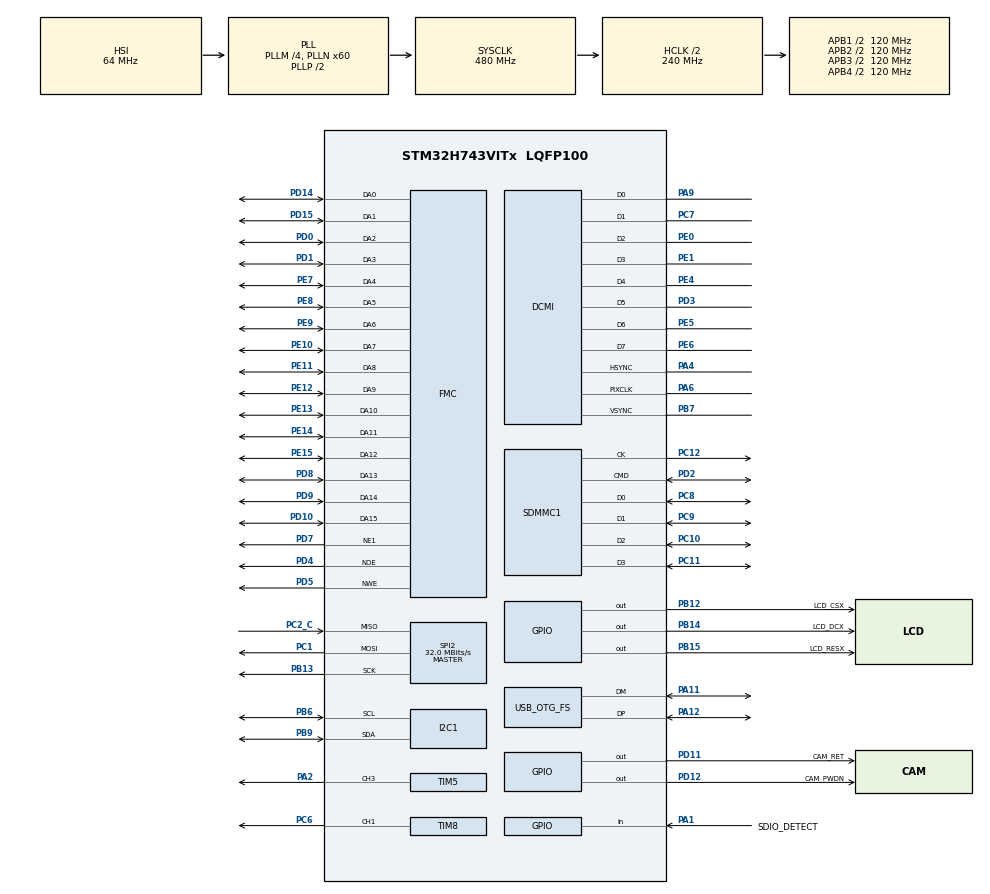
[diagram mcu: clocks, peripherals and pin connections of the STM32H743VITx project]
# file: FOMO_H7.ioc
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CORTEX_M7.CPU_DCache=Enabled
CORTEX_M7.CPU_ICache=Enabled
CORTEX_M7.default_mode_Activation=1
DCMI.PCKPolarity=DCMI_PCKPOLARITY_RISING
DCMI.VSPolarity=DCMI_VSPOLARITY_HIGH
DMA2D.ColorMode=DMA2D_OUTPUT_RGB565
DMA2D.Mode=DMA2D_R2M
Dma.DCMI.1.Direction=DMA_PERIPH_TO_MEMORY
Dma.DCMI.1.EventEnable=DISABLE
Dma.DCMI.1.FIFOMode=DMA_FIFOMODE_DISABLE
Dma.DCMI.1.Instance=DMA2_Stream1
Dma.DCMI.1.MemDataAlignment=DMA_MDATAALIGN_WORD
Dma.DCMI.1.MemInc=DMA_MINC_ENABLE
Dma.DCMI.1.Mode=DMA_NORMAL
Dma.DCMI.1.PeriphDataAlignment=DMA_PDATAALIGN_WORD
Dma.DCMI.1.PeriphInc=DMA_PINC_DISABLE
Dma.DCMI.1.Polarity=HAL_DMAMUX_REQ_GEN_RISING
Dma.DCMI.1.Priority=DMA_PRIORITY_VERY_HIGH
Dma.DCMI.1.RequestNumber=1
Dma.DCMI.1.SignalID=NONE
Dma.DCMI.1.SyncEnable=DISABLE
Dma.DCMI.1.SyncPolarity=HAL_DMAMUX_SYNC_NO_EVENT
Dma.DCMI.1.SyncRequestNumber=1
Dma.DCMI.1.SyncSignalID=NONE
Dma.Request0=SPI2_TX
Dma.Request1=DCMI
Dma.SPI2_TX.0.Direction=DMA_MEMORY_TO_PERIPH
Dma.SPI2_TX.0.EventEnable=DISABLE
Dma.SPI2_TX.0.FIFOMode=DMA_FIFOMODE_DISABLE
Dma.SPI2_TX.0.Instance=DMA1_Stream4
Dma.SPI2_TX.0.MemDataAlignment=DMA_MDATAALIGN_HALFWORD
Dma.SPI2_TX.0.MemInc=DMA_MINC_ENABLE
Dma.SPI2_TX.0.Mode=DMA_NORMAL
Dma.SPI2_TX.0.PeriphDataAlignment=DMA_PDATAALIGN_HALFWORD
Dma.SPI2_TX.0.PeriphInc=DMA_PINC_DISABLE
Dma.SPI2_TX.0.Polarity=HAL_DMAMUX_REQ_GEN_RISING
Dma.SPI2_TX.0.Priority=DMA_PRIORITY_MEDIUM
Dma.SPI2_TX.0.RequestNumber=1
Dma.SPI2_TX.0.SignalID=NONE
Dma.SPI2_TX.0.SyncEnable=DISABLE
Dma.SPI2_TX.0.SyncPolarity=HAL_DMAMUX_SYNC_NO_EVENT
Dma.SPI2_TX.0.SyncRequestNumber=1
Dma.SPI2_TX.0.SyncSignalID=NONE
FATFS.BSP.number=1
FATFS._MAX_SS=4096
FATFS._USE_LFN=3
FATFS0.BSP.STBoard=false
FATFS0.BSP.api=Unknown
FATFS0.BSP.instance=PA1
FATFS0.BSP.ip=GPIO
FATFS0.BSP.mode=Input
FATFS0.BSP.name=Detect_SDIO
FATFS0.BSP.solution=PA1
I2C1.Timing=0x307075B1
Mcu.Family=STM32H7
Mcu.Name=STM32H743VITx
Mcu.Package=LQFP100
NVIC.DCMI_IRQn=true\:1\:0\:true\:false\:true\:true\:true\:true
NVIC.DMA1_Stream4_IRQn=true\:1\:0\:true\:false\:true\:false\:true\:true
NVIC.DMA2D_IRQn=true\:0\:0\:true\:false\:true\:true\:true\:true
NVIC.DMA2_Stream1_IRQn=true\:2\:0\:true\:false\:true\:false\:true\:true
NVIC.OTG_FS_IRQn=true\:0\:0\:false\:false\:true\:false\:true\:true
NVIC.PriorityGroup=NVIC_PRIORITYGROUP_4
NVIC.SPI2_IRQn=true\:0\:0\:false\:false\:true\:false\:true\:true
NVIC.TIM1_UP_IRQn=true\:15\:0\:false\:false\:true\:false\:true\:true
NVIC.TIM8_UP_TIM13_IRQn=true\:2\:0\:true\:false\:true\:true\:true\:true
NVIC.TimeBase=TIM1_UP_IRQn
NVIC.TimeBaseIP=TIM1
PA1.GPIO_Label=SDIO_DETECT
PA1.GPIO_PuPd=GPIO_PULLDOWN
PA1.Signal=GPIO_Input
PA11.Mode=Device_Only
PA11.Signal=USB_OTG_FS_DM
PA12.Mode=Device_Only
PA12.Signal=USB_OTG_FS_DP
PA2.Signal=S_TIM5_CH3
PA4.GPIO_PuPd=GPIO_PULLDOWN
PA4.GPIO_Speed=GPIO_SPEED_FREQ_VERY_HIGH
PA4.Mode=Slave_8_bits_External_Synchro
PA4.Signal=DCMI_HSYNC
PA6.GPIO_PuPd=GPIO_PULLDOWN
PA6.GPIO_Speed=GPIO_SPEED_FREQ_VERY_HIGH
PA6.Mode=Slave_8_bits_External_Synchro
PA6.Signal=DCMI_PIXCLK
PA9.GPIO_PuPd=GPIO_PULLDOWN
PA9.GPIO_Speed=GPIO_SPEED_FREQ_VERY_HIGH
PA9.Mode=Slave_8_bits_External_Synchro
PA9.Signal=DCMI_D0
PB12.GPIO_Label=LCD_CSX
PB12.GPIO_Speed=GPIO_SPEED_FREQ_VERY_HIGH
PB12.PinState=GPIO_PIN_SET
PB12.Signal=GPIO_Output
PB13.GPIO_Speed=GPIO_SPEED_FREQ_VERY_HIGH
PB13.Mode=Full_Duplex_Master
PB13.Signal=SPI2_SCK
PB14.GPIO_Label=LCD_DCX
PB14.GPIO_Speed=GPIO_SPEED_FREQ_HIGH
PB14.PinState=GPIO_PIN_SET
PB14.Signal=GPIO_Output
PB15.GPIO_Label=LCD_RESX
PB15.GPIO_Speed=GPIO_SPEED_FREQ_HIGH
PB15.PinState=GPIO_PIN_SET
PB15.Signal=GPIO_Output
PB6.GPIO_Pu=GPIO_PULLUP
PB6.Mode=I2C
PB6.Signal=I2C1_SCL
PB7.GPIO_PuPd=GPIO_PULLDOWN
PB7.GPIO_Speed=GPIO_SPEED_FREQ_VERY_HIGH
PB7.Mode=Slave_8_bits_External_Synchro
PB7.Signal=DCMI_VSYNC
PB9.GPIO_Pu=GPIO_PULLUP
PB9.Mode=I2C
PB9.Signal=I2C1_SDA
PC1.GPIO_Speed=GPIO_SPEED_FREQ_VERY_HIGH
PC1.Mode=Full_Duplex_Master
PC1.Signal=SPI2_MOSI
PC10.GPIO_PuPd=GPIO_PULLUP
PC10.Mode=SD_4_bits_Wide_bus
PC10.Signal=SDMMC1_D2
PC11.GPIO_PuPd=GPIO_PULLUP
PC11.Mode=SD_4_bits_Wide_bus
PC11.Signal=SDMMC1_D3
PC12.GPIO_PuPd=GPIO_PULLUP
PC12.Mode=SD_4_bits_Wide_bus
PC12.Signal=SDMMC1_CK
PC14-OSC32_IN\ (OSC32_IN).Mode=LSE-External-Oscillator
PC14-OSC32_IN\ (OSC32_IN).Signal=RCC_OSC32_IN
PC15-OSC32_OUT\ (OSC32_OUT).Mode=LSE-External-Oscillator
PC15-OSC32_OUT\ (OSC32_OUT).Signal=RCC_OSC32_OUT
PC2_C.GPIO_Speed=GPIO_SPEED_FREQ_VERY_HIGH
PC2_C.Mode=Full_Duplex_Master
PC2_C.Signal=SPI2_MISO
PC6.Signal=S_TIM8_CH1
PC7.GPIO_PuPd=GPIO_PULLDOWN
PC7.GPIO_Speed=GPIO_SPEED_FREQ_VERY_HIGH
PC7.Mode=Slave_8_bits_External_Synchro
PC7.Signal=DCMI_D1
PC8.GPIO_PuPd=GPIO_PULLUP
PC8.Mode=SD_4_bits_Wide_bus
PC8.Signal=SDMMC1_D0
PC9.GPIO_PuPd=GPIO_PULLUP
PC9.Mode=SD_4_bits_Wide_bus
PC9.Signal=SDMMC1_D1
PD0.Signal=FMC_D2_DA2
PD1.Signal=FMC_D3_DA3
PD10.Signal=FMC_D15_DA15
PD11.GPIO_Label=CAM_RET
PD11.Signal=GPIO_Output
PD12.GPIO_Label=CAM_PWDN
PD12.Signal=GPIO_Output
PD14.Signal=FMC_D0_DA0
PD15.Signal=FMC_D1_DA1
PD2.GPIO_PuPd=GPIO_PULLUP
PD2.Mode=SD_4_bits_Wide_bus
PD2.Signal=SDMMC1_CMD
PD3.GPIO_PuPd=GPIO_PULLDOWN
PD3.GPIO_Speed=GPIO_SPEED_FREQ_VERY_HIGH
PD3.Mode=Slave_8_bits_External_Synchro
PD3.Signal=DCMI_D5
PD4.Signal=FMC_NOE
PD5.Signal=FMC_NWE
PD7.Mode=NorPsramChipSelect1_1
PD7.Signal=FMC_NE1
PD8.Signal=FMC_D13_DA13
PD9.Signal=FMC_D14_DA14
PE0.GPIO_PuPd=GPIO_PULLDOWN
PE0.GPIO_Speed=GPIO_SPEED_FREQ_VERY_HIGH
PE0.Mode=Slave_8_bits_External_Synchro
PE0.Signal=DCMI_D2
PE1.GPIO_PuPd=GPIO_PULLDOWN
PE1.GPIO_Speed=GPIO_SPEED_FREQ_VERY_HIGH
PE1.Mode=Slave_8_bits_External_Synchro
PE1.Signal=DCMI_D3
PE10.Signal=FMC_D7_DA7
PE11.Signal=FMC_D8_DA8
PE12.Signal=FMC_D9_DA9
PE13.Signal=FMC_D10_DA10
PE14.Signal=FMC_D11_DA11
PE15.Signal=FMC_D12_DA12
PE4.GPIO_PuPd=GPIO_PULLDOWN
PE4.GPIO_Speed=GPIO_SPEED_FREQ_VERY_HIGH
PE4.Mode=Slave_8_bits_External_Synchro
PE4.Signal=DCMI_D4
PE5.GPIO_PuPd=GPIO_PULLDOWN
PE5.GPIO_Speed=GPIO_SPEED_FREQ_VERY_HIGH
PE5.Mode=Slave_8_bits_External_Synchro
PE5.Signal=DCMI_D6
PE6.GPIO_PuPd=GPIO_PULLDOWN
PE6.GPIO_Speed=GPIO_SPEED_FREQ_VERY_HIGH
PE6.Mode=Slave_8_bits_External_Synchro
PE6.Signal=DCMI_D7
PE7.Signal=FMC_D4_DA4
PE8.Signal=FMC_D5_DA5
PE9.Signal=FMC_D6_DA6
PH0-OSC_IN\ (PH0).Mode=HSE-External-Clock-Source
PH0-OSC_IN\ (PH0).Signal=RCC_OSC_IN
ProjectManager.HeapSize=0x800
ProjectManager.StackSize=0x800
ProjectManager.TargetToolchain=STM32CubeIDE
RCC.ADCFreq_Value=129000000
RCC.APB1Freq_Value=120000000
RCC.APB2Freq_Value=120000000
RCC.APB3Freq_Value=120000000
RCC.APB4Freq_Value=120000000
RCC.CortexFreq_Value=480000000
RCC.D1PPRE=RCC_APB3_DIV2
RCC.D2PPRE1=RCC_APB1_DIV2
RCC.D2PPRE2=RCC_APB2_DIV2
RCC.D3PPRE=RCC_APB4_DIV2
RCC.DIVM1=4
RCC.DIVM3=5
RCC.DIVN1=60
RCC.DIVN3=30
RCC.DIVP3=3
RCC.DIVQ1=4
RCC.HCLKFreq_Value=240000000
RCC.HPRE=RCC_HCLK_DIV2
RCC.HSE_VALUE=8000000
RCC.PLL2FRACN=0
RCC.PLL3FRACN=0
RCC.PLLFRACN=0
RCC.RCC_MCO1Source=RCC_MCO1SOURCE_HSI48
RCC.SPI123CLockSelection=RCC_SPI123CLKSOURCE_PLL3
RCC.SYSCLKFreq_VALUE=480000000
RCC.SYSCLKSource=RCC_SYSCLKSOURCE_PLLCLK
RCC.USBCLockSelection=RCC_USBCLKSOURCE_HSI48
RCC.USBFreq_Value=48000000
SH.FMC_D0_DA0.0=FMC_DA0,16b-da1
SH.FMC_D10_DA10.0=FMC_DA10,16b-da1
SH.FMC_D11_DA11.0=FMC_DA11,16b-da1
SH.FMC_D12_DA12.0=FMC_DA12,16b-da1
SH.FMC_D13_DA13.0=FMC_DA13,16b-da1
SH.FMC_D14_DA14.0=FMC_DA14,16b-da1
SH.FMC_D15_DA15.0=FMC_DA15,16b-da1
SH.FMC_D1_DA1.0=FMC_DA1,16b-da1
SH.FMC_D2_DA2.0=FMC_DA2,16b-da1
SH.FMC_D3_DA3.0=FMC_DA3,16b-da1
SH.FMC_D4_DA4.0=FMC_DA4,16b-da1
SH.FMC_D5_DA5.0=FMC_DA5,16b-da1
SH.FMC_D6_DA6.0=FMC_DA6,16b-da1
SH.FMC_D7_DA7.0=FMC_DA7,16b-da1
SH.FMC_D8_DA8.0=FMC_DA8,16b-da1
SH.FMC_D9_DA9.0=FMC_DA9,16b-da1
SH.FMC_NOE.0=FMC_NOE,MuxedPsram1
SH.FMC_NWE.0=FMC_NWE,MuxedPsram1
SH.S_TIM5_CH3.0=TIM5_CH3,Output Compare3 CH3
SH.S_TIM8_CH1.0=TIM8_CH1,Output Compare1 CH1
SPI2.BaudRatePrescaler=SPI_BAUDRATEPRESCALER_4
SPI2.CalculateBaudRate=32.0 MBits/s
SPI2.DataSize=SPI_DATASIZE_8BIT
SPI2.Direction=SPI_DIRECTION_2LINES
SPI2.FifoThreshold=SPI_FIFO_THRESHOLD_01DATA
SPI2.Mode=SPI_MODE_MASTER
SPI2.VirtualType=VM_MASTER
STMicroelectronics.X-CUBE-AI.10.1.0.ActivationBufferSizeList=214208
STMicroelectronics.X-CUBE-AI.10.1.0.ActivationBuffers=pool0
STMicroelectronics.X-CUBE-AI.10.1.0.ActivationNames=pool0
STMicroelectronics.X-CUBE-AI.10.1.0.ActivationSizes=AI_NETWORK_1752296348456_DATA_ACTIVATION_1_SIZE
STMicroelectronics.X-CUBE-AI.10.1.0.ApplicationCcDeviceJjApplication=ApplicationTemplate
STMicroelectronics.X-CUBE-AI.10.1.0.HeapSize=0x800
STMicroelectronics.X-CUBE-AI.10.1.0.InternalRamActivationBufferMaxSize=AI_NETWORK_1752296348456_DATA_ACTIVATIONS_SIZE
STMicroelectronics.X-CUBE-AI.10.1.0.LatestDirectoryUsed-5975941f8062ec965dbad8014c89c20ad7564614602e2f178f8612c9a5ea7616=/home/du/Desktop/train_fomo/output
STMicroelectronics.X-CUBE-AI.10.1.0.MaximumNumberOfInputLayer=1
STMicroelectronics.X-CUBE-AI.10.1.0.MaximumNumberOfOutputLayer=1
STMicroelectronics.X-CUBE-AI.10.1.0.MaximumSizeOfInputLayer=1
STMicroelectronics.X-CUBE-AI.10.1.0.MaximumSizeOfOutputLayer=1
STMicroelectronics.X-CUBE-AI.10.1.0.ModelActualCompression-5975941f8062ec965dbad8014c89c20ad7564614602e2f178f8612c9a5ea7616=0.0
STMicroelectronics.X-CUBE-AI.10.1.0.ModelCompression-5975941f8062ec965dbad8014c89c20ad7564614602e2f178f8612c9a5ea7616=None
STMicroelectronics.X-CUBE-AI.10.1.0.ModelFlashOccupation-5975941f8062ec965dbad8014c89c20ad7564614602e2f178f8612c9a5ea7616=20856
STMicroelectronics.X-CUBE-AI.10.1.0.ModelHashList=5975941f8062ec965dbad8014c89c20ad7564614602e2f178f8612c9a5ea7616
STMicroelectronics.X-CUBE-AI.10.1.0.ModelKind-5975941f8062ec965dbad8014c89c20ad7564614602e2f178f8612c9a5ea7616=TFLITE
STMicroelectronics.X-CUBE-AI.10.1.0.ModelMacc-5975941f8062ec965dbad8014c89c20ad7564614602e2f178f8612c9a5ea7616=10457482
STMicroelectronics.X-CUBE-AI.10.1.0.ModelName-5975941f8062ec965dbad8014c89c20ad7564614602e2f178f8612c9a5ea7616=network_1752296348456
STMicroelectronics.X-CUBE-AI.10.1.0.ModelNameList=network_1752296348456
STMicroelectronics.X-CUBE-AI.10.1.0.ModelRamOccupation-5975941f8062ec965dbad8014c89c20ad7564614602e2f178f8612c9a5ea7616=214208
STMicroelectronics.X-CUBE-AI.10.1.0.ModelStructureFile-5975941f8062ec965dbad8014c89c20ad7564614602e2f178f8612c9a5ea7616=/home/du/Desktop/train_fomo/output/fomo_model_int8.tflite
STMicroelectronics.X-CUBE-AI.10.1.0.ModelType-5975941f8062ec965dbad8014c89c20ad7564614602e2f178f8612c9a5ea7616=STM32Cube.AI MCU runtime
STMicroelectronics.X-CUBE-AI.10.1.0.ReadyForCodeGeneration=true
STMicroelectronics.X-CUBE-AI.10.1.0.StackSize=0x800
STMicroelectronics.X-CUBE-AI.10.1.0.WorkingBufferStartAddrList=0xFFFFFFFF
STMicroelectronics.X-CUBE-AI.10.1.0.XAaCUBEAaAICcArtificialOoIntelligenceJjCore=true
STMicroelectronics.X-CUBE-AI.10.1.0.copyWeightToRam=false
STMicroelectronics.X-CUBE-AI.10.1.0.copyWeightToRam-5975941f8062ec965dbad8014c89c20ad7564614602e2f178f8612c9a5ea7616=false
STMicroelectronics.X-CUBE-AI.10.1.0.customLayerConfigEnabled=false
STMicroelectronics.X-CUBE-AI.10.1.0.customLayerConfigEnabled-5975941f8062ec965dbad8014c89c20ad7564614602e2f178f8612c9a5ea7616=false
STMicroelectronics.X-CUBE-AI.10.1.0.noOnnxIoTranspose=false
STMicroelectronics.X-CUBE-AI.10.1.0.noOnnxIoTranspose-5975941f8062ec965dbad8014c89c20ad7564614602e2f178f8612c9a5ea7616=false
STMicroelectronics.X-CUBE-AI.10.1.0.useInputAllocation=true
STMicroelectronics.X-CUBE-AI.10.1.0.useInputAllocation-5975941f8062ec965dbad8014c89c20ad7564614602e2f178f8612c9a5ea7616=true
STMicroelectronics.X-CUBE-AI.10.1.0.useOutputAllocation=true
STMicroelectronics.X-CUBE-AI.10.1.0.useOutputAllocation-5975941f8062ec965dbad8014c89c20ad7564614602e2f178f8612c9a5ea7616=true
TIM13.ClockDivision=TIM_CLOCKDIVISION_DIV2
TIM13.Period=99
TIM13.Prescaler=2399
TIM5.Channel-Output\ Compare3\ CH3=TIM_CHANNEL_3
TIM5.OCMode_3=TIM_OCMODE_TOGGLE
TIM5.OCPolarity_3=TIM_OCPOLARITY_LOW
TIM5.Period=3
TIM5.Prescaler=0
TIM5.Pulse-Output\ Compare3\ CH3=1
TIM8.Channel-Output\ Compare1\ CH1=TIM_CHANNEL_1
TIM8.ClockDivision=TIM_CLOCKDIVISION_DIV4
TIM8.OCMode_1=TIM_OCMODE_TOGGLE
TIM8.Period=999
TIM8.Prescaler=2399
TIM8.Pulse-Output\ Compare1\ CH1=500
USB_DEVICE.CLASS_NAME_FS=CDC
USB_DEVICE.VirtualMode-CDC_FS=Cdc
USB_DEVICE.VirtualModeFS=Cdc_FS
USB_OTG_FS.VirtualMode=Device_Only
VP_CRC_VS_CRC.Mode=CRC_Activate
VP_DMA2D_VS_DMA2D.Mode=DMA2D_Activate
VP_FATFS_VS_SDIO.Mode=SDIO
VP_LIBJPEG_VS_JPEGLIB.Mode=Enabled
VP_MEMORYMAP_VS_MEMORYMAP.Mode=CurAppReg
VP_STMicroelectronics.X-CUBE-AI_VS_ArtificialOoIntelligenceJjXAaCUBEAaAI_10.1.0.Mode=ArtificialOoIntelligenceJjXAaCUBEAaAI
VP_STMicroelectronics.X-CUBE-AI_VS_DeviceJjApplication_10.1.0.Mode=DeviceJjApplication
VP_SYS_VS_tim1.Mode=TIM1
VP_TIM13_VS_ClockSourceINT.Mode=Enable_Timer
VP_USB_DEVICE_VS_USB_DEVICE_CDC_FS.Mode=CDC_FS
board=custom

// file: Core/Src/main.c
/* USER CODE BEGIN Header */
/**
  ******************************************************************************
  * @file           : main.c
  * @brief          : Main program body
  ******************************************************************************
  * @attention
  *
  * Copyright (c) 2025 STMicroelectronics.
  * All rights reserved.
  *
  * This software is licensed under terms that can be found in the LICENSE file
  * in the root directory of this software component.
  * If no LICENSE file comes with this software, it is provided AS-IS.
  *
  ******************************************************************************
  */
/* USER CODE END Header */
#include "main.h"
#include "fatfs.h"
#include "libjpeg.h"
#include "app_x-cube-ai.h"
#include "usb_device.h"

/* USER CODE BEGIN Includes */
#include <stdio.h>
#include <string.h>
#include "usbd_cdc_if.h"
#include "OV7670.h"
#include "LED.h"
#include "SD_Card.h"
#include "Button.h"
#include "ILI9341.h"
#include "ai_platform.h"
#include "network_1752296348456.h"
#include "network_1752296348456_data.h"
#include "golden_sample.h"
/* USER CODE END Includes */

/* USER CODE BEGIN PTD */
//FATFS fs;  // File system object
FIL fil;   // File object
extern uint8_t retSD; // Return value
/* USER CODE END PTD */

/* USER CODE BEGIN PD */
/* ==============================================================================
 * APPLICATION OPERATION MODES:
 * 0 = APP_MODE_STATIC_TEST: Chạy nhận diện tự động liên tục trên ảnh mẫu 18_0005.jpg
 *                           Model STM32 tự suy luận, Parse_FOMO_Output tự tính tọa độ và vẽ target.
 * 1 = APP_MODE_LIVE_CAMERA: Chạy trực tiếp từ Camera OV7670
 * 2 = APP_MODE_DEMO_TIMED:  Chạy tự động ảnh 18_0005 trong 15s (đếm ngược), sau đó chuyển sang Camera
 * ============================================================================== */
#define APP_MODE_STATIC_TEST   0
#define APP_MODE_LIVE_CAMERA   1
#define APP_MODE_DEMO_TIMED    2

#define CURRENT_APP_MODE       APP_MODE_LIVE_CAMERA
/* USER CODE END PD */

CRC_HandleTypeDef hcrc;

DCMI_HandleTypeDef hdcmi;
DMA_HandleTypeDef hdma_dcmi;

DMA2D_HandleTypeDef hdma2d;

I2C_HandleTypeDef hi2c1;

SD_HandleTypeDef hsd1;

SPI_HandleTypeDef hspi2;
DMA_HandleTypeDef hdma_spi2_tx;

TIM_HandleTypeDef htim5;
TIM_HandleTypeDef htim8;
TIM_HandleTypeDef htim13;

SRAM_HandleTypeDef hsram1;

/* USER CODE BEGIN PV */
extern volatile int8_t golden_raw_output[512];
extern volatile int8_t golden_peak_tgt;
extern volatile int8_t golden_peak_bg;
extern volatile int8_t golden_peak_x;
extern volatile int8_t golden_peak_y;
extern volatile int8_t golden_cell_7_8_tgt;
extern volatile int8_t golden_cell_7_8_bg;
extern volatile uint8_t is_golden_sample_running;
/* USER CODE END PV */

void SystemClock_Config(void);
static void MPU_Config(void);
static void MX_GPIO_Init(void);
static void MX_DMA_Init(void);
static void MX_SDMMC1_SD_Init(void);
static void MX_SPI2_Init(void);
static void MX_TIM5_Init(void);
static void MX_TIM8_Init(void);
static void MX_TIM13_Init(void);
static void MX_DCMI_Init(void);
static void MX_I2C1_Init(void);
static void MX_CRC_Init(void);
static void MX_DMA2D_Init(void);
static void MX_FMC_Init(void);

/* USER CODE BEGIN 0 */
int _close(int file) { return -1; }
int _fstat(int file) { return -1; }
int _isatty(int file) { return 0; }
int _lseek(int file, int ptr, int dir) { return 0; }
int _read(int file, char *ptr, int len) { return 0; }
int _write(int file, char *ptr, int len) { return len; }
int _getpid(void) {return 1;}
int _kill(int pid, int sig) {return -1;}
 uint32_t t;
 int32_t delta_t;
 float f=0;
extern const uint8_t LOGO[];
extern const uint32_t LOGO_size;
AI_ALIGNED(32) __attribute__((section(".RAM_D2"))) ai_i8 data_in_1[AI_NETWORK_1752296348456_IN_1_SIZE_BYTES];
AI_ALIGNED(32) __attribute__((section(".RAM_D2"))) ai_i8 data_in_2[AI_NETWORK_1752296348456_IN_1_SIZE_BYTES];
int cnt = 0;
int ai_x[10], ai_y[10], ai_w[10], ai_h[10];
float ai_score[10];
uint32_t ai_time_ms = 0;
volatile int ai_detection_count = 0;
volatile float ai_peak_score = 0.0f;
volatile int8_t ai_peak_tgt = -128, ai_peak_bg = -128;
volatile int ai_peak_gx = 0, ai_peak_gy = 0;
volatile int ai_cells_over_bg = 0, ai_cells_over_conf = 0;
static char usb_log_buf[2][256];
static uint8_t usb_buf_idx = 0;
char label[32];
extern struct
{
    /* HAL peripheral handlers */
    DCMI_HandleTypeDef  *hdcmi;
    I2C_HandleTypeDef   *hi2c;
    TIM_HandleTypeDef   *htim;
    uint32_t            tim_ch;
    /* Requested mode */
    uint32_t            mode;
    /* Address of the buffer */
    volatile uint32_t   buffer_addr[2];
    /* Image line counter */
    volatile uint32_t   lineCnt;
    /* Driver status */
    volatile uint8_t    state;
    uint32_t frameCount;
     uint32_t 			lastTick;
     float 				fps;

} OV7670;

uint8_t flag_ai_ready = 0;
volatile uint8_t flag_frame_ready = 0;
volatile uint8_t cam_buf_idx = 0;
volatile ai_i8* current_ai_buffer = data_in_1;
void Set_AI_Input_Buffer(ai_i8* buffer);

/* ============ Fast string helpers (no sprintf) ============ */
static inline int fast_itoa(int val, char *buf) {
	int pos = 0;
	if (val < 0) { buf[pos++] = '-'; val = -val; }
	if (val == 0) { buf[pos++] = '0'; return pos; }
	char tmp[10]; int len = 0;
	while (val > 0) { tmp[len++] = '0' + (val % 10); val /= 10; }
	for (int i = len - 1; i >= 0; i--) buf[pos++] = tmp[i];
	return pos;
}

static inline int fast_append_str(char *buf, int pos, const char *s) {
	while (*s) buf[pos++] = *s++;
	return pos;
}

/* Format: "FPS: XX.X | AI: NNms" */
static void build_fps_label(char *buf, int fps_x10, int ai_ms) {
	int p = 0;
	p = fast_append_str(buf, p, "FPS:");
	p += fast_itoa(fps_x10 / 10, buf + p);
	buf[p++] = '.';
	p += fast_itoa(fps_x10 % 10, buf + p);
	p = fast_append_str(buf, p, " | AI:");
	p += fast_itoa(ai_ms, buf + p);
	p = fast_append_str(buf, p, "ms");
	buf[p] = '\0';
}

/* Format: "Target XX% (X,Y)" */
static void build_fomo_label(char *buf, int score_pct, int cx, int cy) {
	int p = 0;
	p = fast_append_str(buf, p, "Target ");
	p += fast_itoa(score_pct, buf + p);
	buf[p++] = '%';
	buf[p++] = ' ';
	buf[p++] = '(';
	p += fast_itoa(cx, buf + p);
	buf[p++] = ',';
	p += fast_itoa(cy, buf + p);
	buf[p++] = ')';
	buf[p] = '\0';
}

static void Send_Telemetry_USB(const char *tag) {
	char *p_usb = usb_log_buf[usb_buf_idx];
	usb_buf_idx ^= 1;
	int n = snprintf(p_usb, 256,
			"[%s] #%d fps=%.1f dt=%lums dets=%d | peak=(%d,%d) sc=%.1f%% (t=%d,b=%d) over_bg=%d/256 over_th=%d |",
			tag, cnt, OV7670.fps, (unsigned long)ai_time_ms, ai_detection_count,
			ai_peak_gx, ai_peak_gy, ai_peak_score * 100.0f,
			(int)ai_peak_tgt, (int)ai_peak_bg,
			ai_cells_over_bg, ai_cells_over_conf);
	for (int i = 0; i < ai_detection_count && i < 4; i++) {
		if (n < 256 - 32) {
			n += snprintf(p_usb + n, 256 - n,
					" D%d:[%d,%d,%.1f%%]", i, ai_x[i], ai_y[i], ai_score[i] * 100.0f);
		}
	}
	if (n < 256 - 3) {
		p_usb[n++] = '\r';
		p_usb[n++] = '\n';
		p_usb[n] = '\0';
	}
	CDC_Transmit_FS((uint8_t*)p_usb, (uint16_t)n);
}

/* ============ Minimal ISR — only set flag + restart capture ============ */
void HAL_DCMI_FrameEventCallback(DCMI_HandleTypeDef *hdcmi)
{
	if (hdcmi->Instance == OV7670.hdcmi->Instance) {
		/* 1. Stop DCMI DMA to switch buffer (XCLK TIM5 keeps running!) */
		HAL_DCMI_Stop(OV7670.hdcmi);

		uint8_t finished_idx = cam_buf_idx;
		cam_buf_idx ^= 1U;

		/* 2. Immediately restart DCMI DMA on the OTHER buffer so camera never waits */
		HAL_DCMI_Start_DMA(OV7670.hdcmi, DCMI_MODE_CONTINUOUS, OV7670.buffer_addr[cam_buf_idx], OV7670_FRAME_SIZE_WORDS);

		/* 3. Invalidate D-Cache so CPU reads fresh DMA data from the JUST FILLED buffer */
		SCB_InvalidateDCache_by_Addr((uint32_t*)OV7670.buffer_addr[finished_idx], OV7670_FRAME_SIZE_BYTES);

		/* 4. FPS tracking */
		uint32_t currentTick = HAL_GetTick();
		OV7670.frameCount++;
		if (currentTick - OV7670.lastTick >= 500) {
			OV7670.fps = (OV7670.frameCount * 1000.0f / (currentTick - OV7670.lastTick));
			OV7670.frameCount = 0;
			OV7670.lastTick = currentTick;
		}

		/* Signal main loop that a new frame is ready */
		flag_frame_ready = 1;

		/* Step 1: Crop and Convert to the FREE AI buffer (ping-pong) */
		ai_i8* target_buffer = (current_ai_buffer == data_in_1) ? data_in_2 : data_in_1;
		Crop_and_Convert_Fast((uint8_t*)OV7670.buffer_addr[finished_idx], (uint8_t*)target_buffer);

		/* Step 2: If AI is IDLE, give it the fresh buffer and trigger it */
		if (flag_ai_ready == 0) {
			current_ai_buffer = target_buffer;
			flag_ai_ready = 1;
		}

		/* Step 3: Send to LCD asynchronously ONLY if SPI DMA is completely free */
		if (!ILI9341_IsBusy()) {
			uint8_t *fb = (uint8_t*)OV7670.buffer_addr[finished_idx];
			ILI9341_SetTargetFB(fb);

			/* Draw overlays directly into this finished framebuffer */
			Draw_Rectangle_Outline((ILI9341_ACTIVE_WIDTH - FOMO_CROP_SIZE) / 2,
								   (ILI9341_ACTIVE_HEIGHT - FOMO_CROP_SIZE) / 2,
								   FOMO_CROP_SIZE, FOMO_CROP_SIZE, 0x7BEF);

			int drawn_count = 0;
			for (int i = 0; i < 5; i++) {
				if (ai_score[i] < FOMO_CONF_THRESHOLD || ai_score[i] <= 0.0f) continue;
				Draw_Target_Marker(ai_x[i], ai_y[i], 16, 0x07E0);
				build_fomo_label(label, (int)(ai_score[i] * 100), ai_x[i], ai_y[i]);
				int label_x = (ai_x[i] >= 45) ? (ai_x[i] - 45) : 2;
				if (label_x > 180) label_x = 180;
				int label_y = (ai_y[i] >= 16) ? (ai_y[i] - 16) : (ai_y[i] + 12);
				LCD_PrintStringColor(label_x, label_y, label, 0x07E0);
				drawn_count++;
				if (drawn_count >= 4) break;
			}

			build_fps_label(label, (int)(OV7670.fps * 10), (int)ai_time_ms);
			LCD_PrintStringColor((320 - FOMO_CROP_SIZE) / 2, 2, label, 0x07E0);

			/* Clean D-Cache before SPI DMA reads the framebuffer */
			SCB_CleanDCache_by_Addr((uint32_t*)fb, OV7670_FRAME_SIZE_BYTES);

			/* Send frame to LCD via SPI DMA (non-blocking) */
			ILI9341_DrawFrame(fb, OV7670_FRAME_SIZE_BYTES);
		}
	}
}

/* ==============================================================================
 * Static Golden Sample Autonomous Detection Engine
 * ============================================================================== */
static void __attribute__((unused)) Render_Golden_Sample_To_Framebuffer(uint16_t *fb)
{
	/* Clear side borders to black (X: 0..39 and 280..319) */
	for (int y = 0; y < 240; y++) {
		for (int x = 0; x < 40; x++) fb[y * 320 + x] = 0x0000;
		for (int x = 280; x < 320; x++) fb[y * 320 + x] = 0x0000;
	}

	/* Scale 128x128 image to 240x240 inside X:[40..279], Y:[0..239] */
	for (int y = 0; y < 240; y++) {
		int img_y = (y * 128) / 240;
		int row_offset = img_y * 128;
		int fb_row = y * 320 + 40;
		for (int x = 0; x < 240; x++) {
			int img_x = (x * 128) / 240;
			int idx = (row_offset + img_x) * 3;
			uint8_t r = (uint8_t)((int16_t)golden_sample_18_0005[idx] + 128);
			uint8_t g = (uint8_t)((int16_t)golden_sample_18_0005[idx + 1] + 128);
			uint8_t b = (uint8_t)((int16_t)golden_sample_18_0005[idx + 2] + 128);
			fb[fb_row + x] = (uint16_t)(((r & 0xF8U) << 8) | ((g & 0xFCU) << 3) | (b >> 3));
		}
	}
}

static void __attribute__((unused)) Process_Static_Test_Frame(uint32_t remaining_ms)
{
	uint16_t *fb = (uint16_t*)OV7670.buffer_addr[0];

	/* Wait for any previous SPI DMA frame to finish */
	uint32_t t_wait = HAL_GetTick();
	while (ILI9341_IsBusy() && (HAL_GetTick() - t_wait < 100));

	/* 1. Render test image onto Framebuffer */
	Render_Golden_Sample_To_Framebuffer(fb);

	/* 2. Draw 240x240 crop boundary box */
	Draw_Rectangle_Outline(40, 0, 240, 240, 0x7BEF);

	/* 3. Run live AI inference on golden sample */
	Set_AI_Input_Buffer((ai_i8*)golden_sample_18_0005);
	uint32_t t_start = HAL_GetTick();
	MX_X_CUBE_AI_Process(); /* Invokes post_process() -> Parse_FOMO_Output() */
	ai_time_ms = HAL_GetTick() - t_start;
	cnt++;
	Send_Telemetry_USB("TEST");

	/* 4. Draw detections generated entirely by Parse_FOMO_Output() */
	int drawn_count = 0;
	for (int i = 0; i < 5; i++) {
		if (ai_score[i] < FOMO_CONF_THRESHOLD || ai_score[i] <= 0.0f) continue;

		/* Crosshair marker at detected center */
		Draw_Target_Marker(ai_x[i], ai_y[i], 16, 0x07E0);

		build_fomo_label(label, (int)(ai_score[i] * 100), ai_x[i], ai_y[i]);
		int label_x = (ai_x[i] >= 45) ? (ai_x[i] - 45) : 2;
		if (label_x > 180) label_x = 180;
		int label_y = (ai_y[i] >= 16) ? (ai_y[i] - 16) : (ai_y[i] + 12);
		LCD_PrintStringColor(label_x, label_y, label, 0x07E0);
		drawn_count++;
		if (drawn_count >= 4) break;
	}

	/* 5. Status text overlays on left margin (X: 2..38) */
	char status_buf[48];
	LCD_PrintStringColor(2, 4, "TEST", 0xFFE0);
	LCD_PrintStringColor(2, 20, "18_05", 0xFFFF);

	snprintf(status_buf, sizeof(status_buf), "Obj:%d", drawn_count);
	LCD_PrintStringColor(2, 40, status_buf, (drawn_count > 0) ? 0x07E0 : 0xF800);

	if (drawn_count > 0) {
		snprintf(status_buf, sizeof(status_buf), "%d%%", (int)(ai_score[0] * 100));
		LCD_PrintStringColor(2, 56, status_buf, 0x07E0);
	}

	snprintf(status_buf, sizeof(status_buf), "%lums", (unsigned long)ai_time_ms);
	LCD_PrintStringColor(2, 76, status_buf, 0x7BEF);

	/* Status on right margin (X: 282..318) */
	if (drawn_count > 0) {
		snprintf(status_buf, sizeof(status_buf), "X:%d", ai_x[0]);
		LCD_PrintStringColor(282, 40, status_buf, 0x07E0);
		snprintf(status_buf, sizeof(status_buf), "Y:%d", ai_y[0]);
		LCD_PrintStringColor(282, 56, status_buf, 0x07E0);
	}
	snprintf(status_buf, sizeof(status_buf), "#%d", cnt % 1000);
	LCD_PrintStringColor(282, 76, status_buf, 0x7BEF);

	if (remaining_ms > 0) {
		snprintf(status_buf, sizeof(status_buf), "Cam:%lus", (unsigned long)(remaining_ms / 1000 + 1));
		LCD_PrintStringColor(2, 220, status_buf, 0xFD20);
	} else {
		LCD_PrintStringColor(2, 220, "LIVE", 0x07E0);
	}

	/* 6. Clean D-Cache and flush to ILI9341 display */
	SCB_CleanDCache_by_Addr((uint32_t*)OV7670.buffer_addr[0], OV7670_FRAME_SIZE_BYTES);
	ILI9341_DrawFrame((uint8_t*)OV7670.buffer_addr[0], OV7670_FRAME_SIZE_BYTES);
}

/* USER CODE END 0 */

int main(void)
{

  /* MPU Configuration--------------------------------------------------------*/
  MPU_Config();

  /* Enable the CPU Cache */

  /* Enable I-Cache---------------------------------------------------------*/
  SCB_EnableICache();

  /* Enable D-Cache---------------------------------------------------------*/
  SCB_EnableDCache();

  /* MCU Configuration--------------------------------------------------------*/

  /* Reset of all peripherals, Initializes the Flash interface and the Systick. */
  HAL_Init();

  /* Configure the system clock */
  SystemClock_Config();

  /* Initialize all configured peripherals */
  MX_GPIO_Init();
  MX_DMA_Init();
  MX_SDMMC1_SD_Init();
  MX_SPI2_Init();
  MX_TIM5_Init();
  MX_TIM8_Init();
  MX_TIM13_Init();
  MX_DCMI_Init();
  MX_FATFS_Init();
  MX_I2C1_Init();
  MX_LIBJPEG_Init();
  MX_CRC_Init();
  MX_DMA2D_Init();
  MX_FMC_Init();
  MX_USB_DEVICE_Init();
  MX_X_CUBE_AI_Init();
  /* USER CODE BEGIN 2 */
  ILI9341_Init(&hspi2, ILI9341_PIXEL_FMT_RGB565);
//  ILI9341_SetBackgroundColor(BLACK);
  OV7670_Init(&hdcmi, &hi2c1, &htim5, TIM_CHANNEL_3);
  ILI9341_DrawFrame(LOGO, LOGO_size);
  HAL_Delay(1000);

#if (CURRENT_APP_MODE == APP_MODE_DEMO_TIMED)
  uint32_t demo_start = HAL_GetTick();
  while (HAL_GetTick() - demo_start < 15000) {
    uint32_t rem = 15000 - (HAL_GetTick() - demo_start);
    Process_Static_Test_Frame(rem);
  }
  OV7670_Start();
#elif (CURRENT_APP_MODE == APP_MODE_LIVE_CAMERA)
  OV7670_Start();
#elif (CURRENT_APP_MODE == APP_MODE_STATIC_TEST)
  /* Camera not started; Process_Static_Test_Frame runs in while(1) */
#endif
  /* USER CODE END 2 */

  /* Infinite loop */
  while (1)
  {

//  MX_X_CUBE_AI_Process(); /* Spurious CubeMX call removed: inference only on flag_ai_ready */
    /* USER CODE BEGIN 3 */
#if (CURRENT_APP_MODE == APP_MODE_STATIC_TEST)
	  Process_Static_Test_Frame(0);
#else
	  /* ====== Frame processing pipeline (runs in main context, NOT ISR) ====== */
	  if (flag_frame_ready) {
		  flag_frame_ready = 0;
	  }

	  /* AI inference — only when a new frame has been preprocessed */
	  if (flag_ai_ready) {
		  uint32_t t_start = HAL_GetTick();
		  Set_AI_Input_Buffer((ai_i8*)current_ai_buffer);
		  MX_X_CUBE_AI_Process();
		  ai_time_ms = HAL_GetTick() - t_start;
		  flag_ai_ready = 0;
		  cnt++;
		  Send_Telemetry_USB("CAM");
	  }
#endif
  }
  /* USER CODE END 3 */
}

void SystemClock_Config(void)
{
  RCC_OscInitTypeDef RCC_OscInitStruct = {0};
  RCC_ClkInitTypeDef RCC_ClkInitStruct = {0};

  /** Supply configuration update enable
  */
  HAL_PWREx_ConfigSupply(PWR_LDO_SUPPLY);

  /** Configure the main internal regulator output voltage
  */
  __HAL_PWR_VOLTAGESCALING_CONFIG(PWR_REGULATOR_VOLTAGE_SCALE0);

  while(!__HAL_PWR_GET_FLAG(PWR_FLAG_VOSRDY)) {}

  /** Initializes the RCC Oscillators according to the specified parameters
  * in the RCC_OscInitTypeDef structure.
  */
  RCC_OscInitStruct.OscillatorType = RCC_OSCILLATORTYPE_HSI48|RCC_OSCILLATORTYPE_HSI;
  RCC_OscInitStruct.HSIState = RCC_HSI_DIV1;
  RCC_OscInitStruct.HSICalibrationValue = RCC_HSICALIBRATION_DEFAULT;
  RCC_OscInitStruct.HSI48State = RCC_HSI48_ON;
  RCC_OscInitStruct.PLL.PLLState = RCC_PLL_ON;
  RCC_OscInitStruct.PLL.PLLSource = RCC_PLLSOURCE_HSI;
  RCC_OscInitStruct.PLL.PLLM = 4;
  RCC_OscInitStruct.PLL.PLLN = 60;
  RCC_OscInitStruct.PLL.PLLP = 2;
  RCC_OscInitStruct.PLL.PLLQ = 4;
  RCC_OscInitStruct.PLL.PLLR = 2;
  RCC_OscInitStruct.PLL.PLLRGE = RCC_PLL1VCIRANGE_3;
  RCC_OscInitStruct.PLL.PLLVCOSEL = RCC_PLL1VCOWIDE;
  RCC_OscInitStruct.PLL.PLLFRACN = 0;
  if (HAL_RCC_OscConfig(&RCC_OscInitStruct) != HAL_OK)
  {
    Error_Handler();
  }

  /** Initializes the CPU, AHB and APB buses clocks
  */
  RCC_ClkInitStruct.ClockType = RCC_CLOCKTYPE_HCLK|RCC_CLOCKTYPE_SYSCLK
                              |RCC_CLOCKTYPE_PCLK1|RCC_CLOCKTYPE_PCLK2
                              |RCC_CLOCKTYPE_D3PCLK1|RCC_CLOCKTYPE_D1PCLK1;
  RCC_ClkInitStruct.SYSCLKSource = RCC_SYSCLKSOURCE_PLLCLK;
  RCC_ClkInitStruct.SYSCLKDivider = RCC_SYSCLK_DIV1;
  RCC_ClkInitStruct.AHBCLKDivider = RCC_HCLK_DIV2;
  RCC_ClkInitStruct.APB3CLKDivider = RCC_APB3_DIV2;
  RCC_ClkInitStruct.APB1CLKDivider = RCC_APB1_DIV2;
  RCC_ClkInitStruct.APB2CLKDivider = RCC_APB2_DIV2;
  RCC_ClkInitStruct.APB4CLKDivider = RCC_APB4_DIV2;

  if (HAL_RCC_ClockConfig(&RCC_ClkInitStruct, FLASH_LATENCY_4) != HAL_OK)
  {
    Error_Handler();
  }
}

static void MX_CRC_Init(void)
{

  hcrc.Instance = CRC;
  hcrc.Init.DefaultPolynomialUse = DEFAULT_POLYNOMIAL_ENABLE;
  hcrc.Init.DefaultInitValueUse = DEFAULT_INIT_VALUE_ENABLE;
  hcrc.Init.InputDataInversionMode = CRC_INPUTDATA_INVERSION_NONE;
  hcrc.Init.OutputDataInversionMode = CRC_OUTPUTDATA_INVERSION_DISABLE;
  hcrc.InputDataFormat = CRC_INPUTDATA_FORMAT_BYTES;
  if (HAL_CRC_Init(&hcrc) != HAL_OK)
  {
    Error_Handler();
  }

}

static void MX_DCMI_Init(void)
{

  hdcmi.Instance = DCMI;
  hdcmi.Init.SynchroMode = DCMI_SYNCHRO_HARDWARE;
  hdcmi.Init.PCKPolarity = DCMI_PCKPOLARITY_RISING;
  hdcmi.Init.VSPolarity = DCMI_VSPOLARITY_HIGH;
  hdcmi.Init.HSPolarity = DCMI_HSPOLARITY_LOW;
  hdcmi.Init.CaptureRate = DCMI_CR_ALL_FRAME;
  hdcmi.Init.ExtendedDataMode = DCMI_EXTEND_DATA_8B;
  hdcmi.Init.JPEGMode = DCMI_JPEG_DISABLE;
  hdcmi.Init.ByteSelectMode = DCMI_BSM_ALL;
  hdcmi.Init.ByteSelectStart = DCMI_OEBS_ODD;
  hdcmi.Init.LineSelectMode = DCMI_LSM_ALL;
  hdcmi.Init.LineSelectStart = DCMI_OELS_ODD;
  if (HAL_DCMI_Init(&hdcmi) != HAL_OK)
  {
    Error_Handler();
  }

}

static void MX_DMA2D_Init(void)
{

  hdma2d.Instance = DMA2D;
  hdma2d.Init.Mode = DMA2D_R2M;
  hdma2d.Init.ColorMode = DMA2D_OUTPUT_RGB565;
  hdma2d.Init.OutputOffset = 0;
  if (HAL_DMA2D_Init(&hdma2d) != HAL_OK)
  {
    Error_Handler();
  }

}

static void MX_I2C1_Init(void)
{

  hi2c1.Instance = I2C1;
  hi2c1.Init.Timing = 0x307075B1;
  hi2c1.Init.OwnAddress1 = 0;
  hi2c1.Init.AddressingMode = I2C_ADDRESSINGMODE_7BIT;
  hi2c1.Init.DualAddressMode = I2C_DUALADDRESS_DISABLE;
  hi2c1.Init.OwnAddress2 = 0;
  hi2c1.Init.OwnAddress2Masks = I2C_OA2_NOMASK;
  hi2c1.Init.GeneralCallMode = I2C_GENERALCALL_DISABLE;
  hi2c1.Init.NoStretchMode = I2C_NOSTRETCH_DISABLE;
  if (HAL_I2C_Init(&hi2c1) != HAL_OK)
  {
    Error_Handler();
  }

  /** Configure Analogue filter
  */
  if (HAL_I2CEx_ConfigAnalogFilter(&hi2c1, I2C_ANALOGFILTER_ENABLE) != HAL_OK)
  {
    Error_Handler();
  }

  /** Configure Digital filter
  */
  if (HAL_I2CEx_ConfigDigitalFilter(&hi2c1, 0) != HAL_OK)
  {
    Error_Handler();
  }

}

static void MX_SDMMC1_SD_Init(void)
{

  hsd1.Instance = SDMMC1;
  hsd1.Init.ClockEdge = SDMMC_CLOCK_EDGE_RISING;
  hsd1.Init.ClockPowerSave = SDMMC_CLOCK_POWER_SAVE_DISABLE;
  hsd1.Init.BusWide = SDMMC_BUS_WIDE_4B;
  hsd1.Init.HardwareFlowControl = SDMMC_HARDWARE_FLOW_CONTROL_DISABLE;
  hsd1.Init.ClockDiv = 0;

}

static void MX_SPI2_Init(void)
{

  /* SPI2 parameter configuration*/
  hspi2.Instance = SPI2;
  hspi2.Init.Mode = SPI_MODE_MASTER;
  hspi2.Init.Direction = SPI_DIRECTION_2LINES;
  hspi2.Init.DataSize = SPI_DATASIZE_8BIT;
  hspi2.Init.CLKPolarity = SPI_POLARITY_LOW;
  hspi2.Init.CLKPhase = SPI_PHASE_1EDGE;
  hspi2.Init.NSS = SPI_NSS_SOFT;
  hspi2.Init.BaudRatePrescaler = SPI_BAUDRATEPRESCALER_4;
  hspi2.Init.FirstBit = SPI_FIRSTBIT_MSB;
  hspi2.Init.TIMode = SPI_TIMODE_DISABLE;
  hspi2.Init.CRCCalculation = SPI_CRCCALCULATION_DISABLE;
  hspi2.Init.CRCPolynomial = 0x0;
  hspi2.Init.NSSPMode = SPI_NSS_PULSE_ENABLE;
  hspi2.Init.NSSPolarity = SPI_NSS_POLARITY_LOW;
  hspi2.Init.FifoThreshold = SPI_FIFO_THRESHOLD_01DATA;
  hspi2.Init.TxCRCInitializationPattern = SPI_CRC_INITIALIZATION_ALL_ZERO_PATTERN;
  hspi2.Init.RxCRCInitializationPattern = SPI_CRC_INITIALIZATION_ALL_ZERO_PATTERN;
  hspi2.Init.MasterSSIdleness = SPI_MASTER_SS_IDLENESS_00CYCLE;
  hspi2.Init.MasterInterDataIdleness = SPI_MASTER_INTERDATA_IDLENESS_00CYCLE;
  hspi2.Init.MasterReceiverAutoSusp = SPI_MASTER_RX_AUTOSUSP_DISABLE;
  hspi2.Init.MasterKeepIOState = SPI_MASTER_KEEP_IO_STATE_DISABLE;
  hspi2.Init.IOSwap = SPI_IO_SWAP_DISABLE;
  if (HAL_SPI_Init(&hspi2) != HAL_OK)
  {
    Error_Handler();
  }

}

static void MX_TIM5_Init(void)
{

  TIM_MasterConfigTypeDef sMasterConfig = {0};
  TIM_OC_InitTypeDef sConfigOC = {0};

  htim5.Instance = TIM5;
  htim5.Init.Prescaler = 0;
  htim5.Init.CounterMode = TIM_COUNTERMODE_UP;
  htim5.Init.Period = 3;
  htim5.Init.ClockDivision = TIM_CLOCKDIVISION_DIV1;
  htim5.Init.AutoReloadPreload = TIM_AUTORELOAD_PRELOAD_DISABLE;
  if (HAL_TIM_OC_Init(&htim5) != HAL_OK)
  {
    Error_Handler();
  }
  sMasterConfig.MasterOutputTrigger = TIM_TRGO_RESET;
  sMasterConfig.MasterSlaveMode = TIM_MASTERSLAVEMODE_DISABLE;
  if (HAL_TIMEx_MasterConfigSynchronization(&htim5, &sMasterConfig) != HAL_OK)
  {
    Error_Handler();
  }
  sConfigOC.OCMode = TIM_OCMODE_TOGGLE;
  sConfigOC.Pulse = 1;
  sConfigOC.OCPolarity = TIM_OCPOLARITY_LOW;
  sConfigOC.OCFastMode = TIM_OCFAST_DISABLE;
  if (HAL_TIM_OC_ConfigChannel(&htim5, &sConfigOC, TIM_CHANNEL_3) != HAL_OK)
  {
    Error_Handler();
  }
  HAL_TIM_MspPostInit(&htim5);

}

static void MX_TIM8_Init(void)
{

  TIM_MasterConfigTypeDef sMasterConfig = {0};
  TIM_OC_InitTypeDef sConfigOC = {0};
  TIM_BreakDeadTimeConfigTypeDef sBreakDeadTimeConfig = {0};

  htim8.Instance = TIM8;
  htim8.Init.Prescaler = 2399;
  htim8.Init.CounterMode = TIM_COUNTERMODE_UP;
  htim8.Init.Period = 999;
  htim8.Init.ClockDivision = TIM_CLOCKDIVISION_DIV4;
  htim8.Init.RepetitionCounter = 0;
  htim8.Init.AutoReloadPreload = TIM_AUTORELOAD_PRELOAD_DISABLE;
  if (HAL_TIM_OC_Init(&htim8) != HAL_OK)
  {
    Error_Handler();
  }
  sMasterConfig.MasterOutputTrigger = TIM_TRGO_RESET;
  sMasterConfig.MasterOutputTrigger2 = TIM_TRGO2_RESET;
  sMasterConfig.MasterSlaveMode = TIM_MASTERSLAVEMODE_DISABLE;
  if (HAL_TIMEx_MasterConfigSynchronization(&htim8, &sMasterConfig) != HAL_OK)
  {
    Error_Handler();
  }
  sConfigOC.OCMode = TIM_OCMODE_TOGGLE;
  sConfigOC.Pulse = 500;
  sConfigOC.OCPolarity = TIM_OCPOLARITY_HIGH;
  sConfigOC.OCNPolarity = TIM_OCNPOLARITY_HIGH;
  sConfigOC.OCFastMode = TIM_OCFAST_DISABLE;
  sConfigOC.OCIdleState = TIM_OCIDLESTATE_RESET;
  sConfigOC.OCNIdleState = TIM_OCNIDLESTATE_RESET;
  if (HAL_TIM_OC_ConfigChannel(&htim8, &sConfigOC, TIM_CHANNEL_1) != HAL_OK)
  {
    Error_Handler();
  }
  sBreakDeadTimeConfig.OffStateRunMode = TIM_OSSR_DISABLE;
  sBreakDeadTimeConfig.OffStateIDLEMode = TIM_OSSI_DISABLE;
  sBreakDeadTimeConfig.LockLevel = TIM_LOCKLEVEL_OFF;
  sBreakDeadTimeConfig.DeadTime = 0;
  sBreakDeadTimeConfig.BreakState = TIM_BREAK_DISABLE;
  sBreakDeadTimeConfig.BreakPolarity = TIM_BREAKPOLARITY_HIGH;
  sBreakDeadTimeConfig.BreakFilter = 0;
  sBreakDeadTimeConfig.Break2State = TIM_BREAK2_DISABLE;
  sBreakDeadTimeConfig.Break2Polarity = TIM_BREAK2POLARITY_HIGH;
  sBreakDeadTimeConfig.Break2Filter = 0;
  sBreakDeadTimeConfig.AutomaticOutput = TIM_AUTOMATICOUTPUT_DISABLE;
  if (HAL_TIMEx_ConfigBreakDeadTime(&htim8, &sBreakDeadTimeConfig) != HAL_OK)
  {
    Error_Handler();
  }
  HAL_TIM_MspPostInit(&htim8);

}

static void MX_TIM13_Init(void)
{

  htim13.Instance = TIM13;
  htim13.Init.Prescaler = 2399;
  htim13.Init.CounterMode = TIM_COUNTERMODE_UP;
  htim13.Init.Period = 99;
  htim13.Init.ClockDivision = TIM_CLOCKDIVISION_DIV2;
  htim13.Init.AutoReloadPreload = TIM_AUTORELOAD_PRELOAD_DISABLE;
  if (HAL_TIM_Base_Init(&htim13) != HAL_OK)
  {
    Error_Handler();
  }

}

static void MX_DMA_Init(void)
{

  /* DMA controller clock enable */
  __HAL_RCC_DMA1_CLK_ENABLE();
  __HAL_RCC_DMA2_CLK_ENABLE();

  /* DMA interrupt init */
  /* DMA1_Stream4_IRQn interrupt configuration */
  HAL_NVIC_SetPriority(DMA1_Stream4_IRQn, 1, 0);
  HAL_NVIC_EnableIRQ(DMA1_Stream4_IRQn);
  /* DMA2_Stream1_IRQn interrupt configuration */
  HAL_NVIC_SetPriority(DMA2_Stream1_IRQn, 2, 0);
  HAL_NVIC_EnableIRQ(DMA2_Stream1_IRQn);

}

/* FMC initialization function */
static void MX_FMC_Init(void)
{

  FMC_NORSRAM_TimingTypeDef Timing = {0};

  /** Perform the SRAM1 memory initialization sequence
  */
  hsram1.Instance = FMC_NORSRAM_DEVICE;
  hsram1.Extended = FMC_NORSRAM_EXTENDED_DEVICE;
  /* hsram1.Init */
  hsram1.Init.NSBank = FMC_NORSRAM_BANK1;
  hsram1.Init.DataAddressMux = FMC_DATA_ADDRESS_MUX_ENABLE;
  hsram1.Init.MemoryType = FMC_MEMORY_TYPE_PSRAM;
  hsram1.Init.MemoryDataWidth = FMC_NORSRAM_MEM_BUS_WIDTH_16;
  hsram1.Init.BurstAccessMode = FMC_BURST_ACCESS_MODE_DISABLE;
  hsram1.Init.WaitSignalPolarity = FMC_WAIT_SIGNAL_POLARITY_LOW;
  hsram1.Init.WaitSignalActive = FMC_WAIT_TIMING_BEFORE_WS;
  hsram1.Init.WriteOperation = FMC_WRITE_OPERATION_DISABLE;
  hsram1.Init.WaitSignal = FMC_WAIT_SIGNAL_DISABLE;
  hsram1.Init.ExtendedMode = FMC_EXTENDED_MODE_DISABLE;
  hsram1.Init.AsynchronousWait = FMC_ASYNCHRONOUS_WAIT_DISABLE;
  hsram1.Init.WriteBurst = FMC_WRITE_BURST_DISABLE;
  hsram1.Init.ContinuousClock = FMC_CONTINUOUS_CLOCK_SYNC_ONLY;
  hsram1.Init.WriteFifo = FMC_WRITE_FIFO_ENABLE;
  hsram1.Init.PageSize = FMC_PAGE_SIZE_NONE;
  /* Timing */
  Timing.AddressSetupTime = 15;
  Timing.AddressHoldTime = 15;
  Timing.DataSetupTime = 255;
  Timing.BusTurnAroundDuration = 15;
  Timing.CLKDivision = 16;
  Timing.DataLatency = 17;
  Timing.AccessMode = FMC_ACCESS_MODE_A;
  /* ExtTiming */

  if (HAL_SRAM_Init(&hsram1, &Timing, NULL) != HAL_OK)
  {
    Error_Handler( );
  }

}

static void MX_GPIO_Init(void)
{
  GPIO_InitTypeDef GPIO_InitStruct = {0};

  /* GPIO Ports Clock Enable */
  __HAL_RCC_GPIOE_CLK_ENABLE();
  __HAL_RCC_GPIOC_CLK_ENABLE();
  __HAL_RCC_GPIOH_CLK_ENABLE();
  __HAL_RCC_GPIOA_CLK_ENABLE();
  __HAL_RCC_GPIOB_CLK_ENABLE();
  __HAL_RCC_GPIOD_CLK_ENABLE();

  /*Configure GPIO pin Output Level */
  HAL_GPIO_WritePin(GPIOB, LCD_CSX_Pin|LCD_DCX_Pin|LCD_RESX_Pin, GPIO_PIN_SET);

  /*Configure GPIO pin Output Level */
  HAL_GPIO_WritePin(GPIOD, CAM_RET_Pin|CAM_PWDN_Pin, GPIO_PIN_RESET);

  /*Configure GPIO pin : SDIO_DETECT_Pin */
  GPIO_InitStruct.Pin = SDIO_DETECT_Pin;
  GPIO_InitStruct.Mode = GPIO_MODE_INPUT;
  GPIO_InitStruct.Pull = GPIO_PULLDOWN;
  HAL_GPIO_Init(SDIO_DETECT_GPIO_Port, &GPIO_InitStruct);

  /*Configure GPIO pin : LCD_CSX_Pin */
  GPIO_InitStruct.Pin = LCD_CSX_Pin;
  GPIO_InitStruct.Mode = GPIO_MODE_OUTPUT_PP;
  GPIO_InitStruct.Pull = GPIO_NOPULL;
  GPIO_InitStruct.Speed = GPIO_SPEED_FREQ_VERY_HIGH;
  HAL_GPIO_Init(LCD_CSX_GPIO_Port, &GPIO_InitStruct);

  /*Configure GPIO pins : LCD_DCX_Pin LCD_RESX_Pin */
  GPIO_InitStruct.Pin = LCD_DCX_Pin|LCD_RESX_Pin;
  GPIO_InitStruct.Mode = GPIO_MODE_OUTPUT_PP;
  GPIO_InitStruct.Pull = GPIO_NOPULL;
  GPIO_InitStruct.Speed = GPIO_SPEED_FREQ_HIGH;
  HAL_GPIO_Init(GPIOB, &GPIO_InitStruct);

  /*Configure GPIO pins : CAM_RET_Pin CAM_PWDN_Pin */
  GPIO_InitStruct.Pin = CAM_RET_Pin|CAM_PWDN_Pin;
  GPIO_InitStruct.Mode = GPIO_MODE_OUTPUT_PP;
  GPIO_InitStruct.Pull = GPIO_NOPULL;
  GPIO_InitStruct.Speed = GPIO_SPEED_FREQ_LOW;
  HAL_GPIO_Init(GPIOD, &GPIO_InitStruct);

}

 /* MPU Configuration */

void MPU_Config(void)
{
  MPU_Region_InitTypeDef MPU_InitStruct = {0};

  /* Disables the MPU */
  HAL_MPU_Disable();

  /** Initializes and configures the Region and the memory to be protected
  */
  MPU_InitStruct.Enable = MPU_REGION_ENABLE;
  MPU_InitStruct.Number = MPU_REGION_NUMBER0;
  MPU_InitStruct.BaseAddress = 0x0;
  MPU_InitStruct.Size = MPU_REGION_SIZE_4GB;
  MPU_InitStruct.SubRegionDisable = 0x87;
  MPU_InitStruct.TypeExtField = MPU_TEX_LEVEL0;
  MPU_InitStruct.AccessPermission = MPU_REGION_NO_ACCESS;
  MPU_InitStruct.DisableExec = MPU_INSTRUCTION_ACCESS_DISABLE;
  MPU_InitStruct.IsShareable = MPU_ACCESS_SHAREABLE;
  MPU_InitStruct.IsCacheable = MPU_ACCESS_NOT_CACHEABLE;
  MPU_InitStruct.IsBufferable = MPU_ACCESS_NOT_BUFFERABLE;

  HAL_MPU_ConfigRegion(&MPU_InitStruct);
  /* Enables the MPU */
  HAL_MPU_Enable(MPU_PRIVILEGED_DEFAULT);

}

void HAL_TIM_PeriodElapsedCallback(TIM_HandleTypeDef *htim)
{
  if (htim->Instance == TIM1)
  {
    HAL_IncTick();
  }
}

void Error_Handler(void)
{
  __disable_irq();
  while (1)
  {
  }
}
